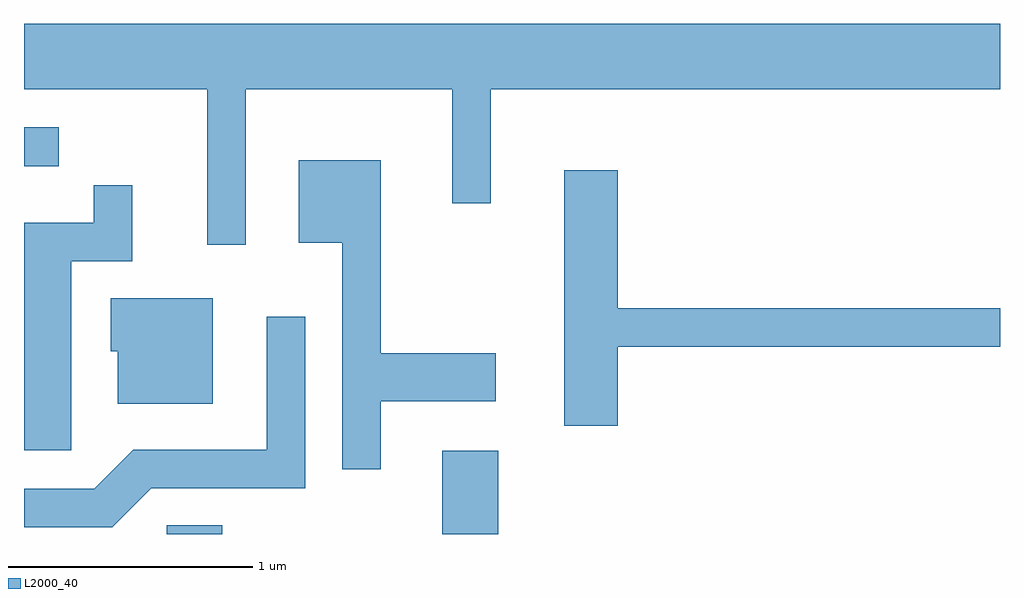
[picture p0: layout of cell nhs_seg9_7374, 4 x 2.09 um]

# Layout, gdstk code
import gdstk
lib = gdstk.Library(unit=1e-6, precision=1e-09)
def R(c, l, rs):  # rectangles x0, y0, x1, y1
    for r in rs: c.add(gdstk.rectangle(r[:2], r[2:], *l))
def P(c, l, *ps):  # polygons
    for p in ps: c.add(gdstk.Polygon(p, *l))
L2000_40 = (2000, 40)

nhs_seg9_7374 = lib.new_cell('nhs_seg9_7374')
R(nhs_seg9_7374, L2000_40, [(404.196,1994.432,404.424,1994.469), (405.326,1994.432,405.554,1994.774), (403.611,1995.941,403.753,1996.099)])
P(nhs_seg9_7374, L2000_40, [(404.519,1996.256),(405.366,1996.256),(405.366,1995.788),(405.524,1995.788),(405.524,1996.256),(407.611,1996.256),(407.611,1996.524),(403.611,1996.524),(403.611,1996.256),(404.361,1996.256),(404.361,1995.618),(404.519,1995.618)],
  [(405.074,1994.976),(405.544,1994.976),(405.544,1995.174),(405.074,1995.174),(405.074,1995.964),(404.736,1995.964),(404.736,1995.626),(404.916,1995.626),(404.916,1994.698),(405.074,1994.698)],
  [(406.044,1995.201),(407.611,1995.201),(407.611,1995.359),(406.044,1995.359),(406.044,1995.924),(405.826,1995.924),(405.826,1994.876),(406.044,1994.876)],
  [(403.804,1995.551),(404.054,1995.551),(404.054,1995.863),(403.896,1995.863),(403.896,1995.709),(403.611,1995.709),(403.611,1994.776),(403.804,1994.776)],
  [(404.384,1995.399),(403.966,1995.399),(403.966,1995.181),(403.996,1995.181),(403.996,1994.966),(404.384,1994.966)],
  [(404.132,1994.621),(404.764,1994.621),(404.764,1995.323),(404.606,1995.323),(404.606,1994.779),(404.059,1994.779),(403.899,1994.619),(403.611,1994.619),(403.611,1994.461),(403.972,1994.461)])

lib.write_gds('nhs_seg9_7374.gds')
